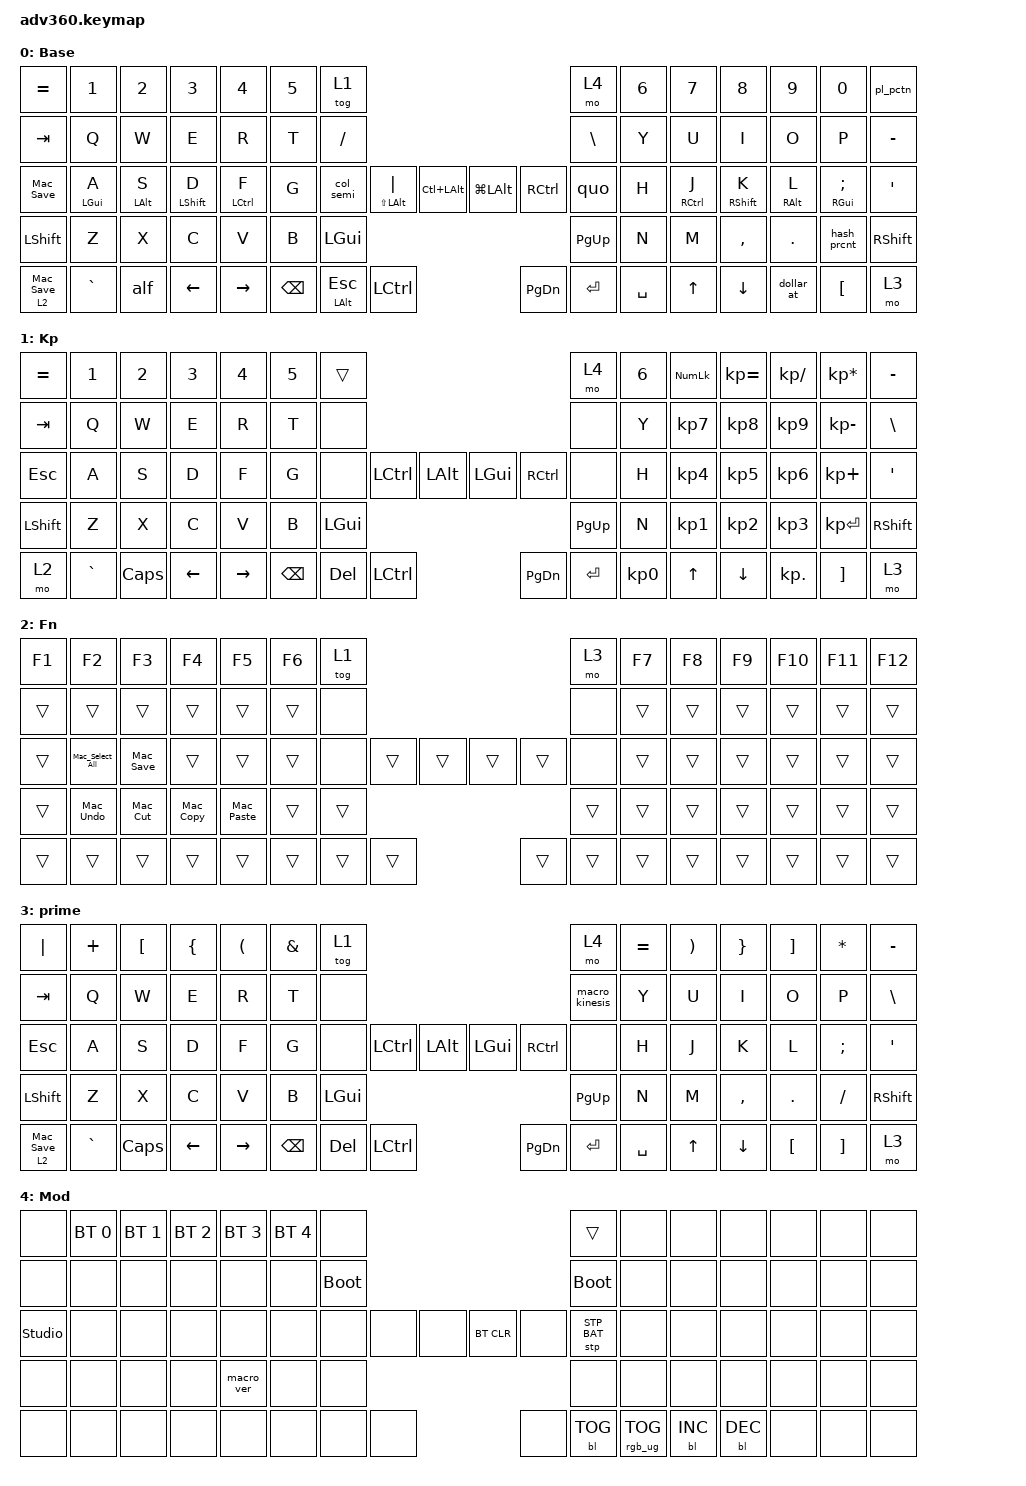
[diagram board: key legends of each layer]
#include <behaviors.dtsi>

#include <dt-bindings/zmk/keys.h>
#include <dt-bindings/zmk/bt.h>
#include <dt-bindings/zmk/rgb.h>
#include <dt-bindings/zmk/stp.h>
#include <dt-bindings/zmk/backlight.h>
#include <dt-bindings/zmk/pointing.h>

/ {
	behaviors {
		#include "macros.dtsi"
		#include "version.dtsi"
		
		// Left-hand homerow mods - "timeless" configuration
		hml: homerow_mods_left {
			compatible = "zmk,behavior-hold-tap";
			label = "HOMEROW_MODS_LEFT";
			#binding-cells = <2>;
			tapping-term-ms = <280>;// Increased for timer-less behavior
			quick-tap-ms = <175>;
			require-prior-idle-ms = <150>;// KEY FIX: Eliminates typing delay
			flavor = "balanced";// Changed from tap-preferred
			bindings = <&kp>, <&kp>;
			hold-trigger-key-positions = <// Right hand + thumbs
			7 8 9 10 11 12 13
			21 22 23 24 25 26 27
			39 40 41 42 43 44 45
			54 55 56 57 58 59
			71 72 73 74 75
			37 38 53 68 69 70
			>;
			hold-trigger-on-release;// Enable combining mods on same hand
		};
		
		// Right-hand homerow mods - "timeless" configuration
		hmr: homerow_mods_right {
			compatible = "zmk,behavior-hold-tap";
			label = "HOMEROW_MODS_RIGHT";
			#binding-cells = <2>;
			tapping-term-ms = <280>;// Increased for timer-less behavior
			quick-tap-ms = <175>;
			require-prior-idle-ms = <150>;// KEY FIX: Eliminates typing delay
			flavor = "balanced";// Changed from tap-preferred
			bindings = <&kp>, <&kp>;
			hold-trigger-key-positions = <// Left hand + thumbs
			0 1 2 3 4 5 6
			14 15 16 17 18 19 20
			28 29 30 31 32 33 34
			46 47 48 49 50 51
			60 61 62 63 64
			35 36 52 65 66 67
			>;
			hold-trigger-on-release;// Enable combining mods on same hand
		};
		
		esc_alt: esc_alt {
			compatible = "zmk,behavior-hold-tap";
			label = "ESC_ALT";
			#binding-cells = <2>;
			tapping-term-ms = <200>;
			quick_tap_ms = <175>;
			flavor = "tap-preferred";
			bindings = <&kp>, <&kp>;
		};
		
		fn_save: fn_layer_save {
			compatible = "zmk,behavior-hold-tap";
			label = "FN_SAVE";
			#binding-cells = <2>;
			tapping-term-ms = <200>;
			quick_tap_ms = <175>;
			flavor = "tap-preferred";
			bindings = <&mo>, <&Mac_Save>;
		};
		pl_pctn: pl_pctn {
			compatible = "zmk,behavior-mod-morph";
			label = "pl_pctn";
			#binding-cells = <0>;
			bindings = <&kp PLUS>, <&kp PRCNT>;
			mods = <(MOD_LGUI|MOD_LSFT|MOD_RGUI|MOD_RSFT)>;
		};
		col_semi: colon_semicolon {
			compatible = "zmk,behavior-mod-morph";
			label = "colon_semicolon";
			#binding-cells = <0>;
			bindings = <&kp COLON>, <&kp SEMICOLON>;
			mods = <(MOD_LGUI|MOD_LSFT|MOD_RGUI|MOD_RSFT)>;
		};
		
		quo: quotes_morph {
			compatible = "zmk,behavior-mod-morph";
			label = "QUOTES_MORPH";
			#binding-cells = <0>;
			bindings = <&kp SQT>, <&kp DQT>;
			mods = <(MOD_LSFT|MOD_RSFT)>;
		};
		psa: pipe_shiftalt {
			compatible = "zmk,behavior-hold-tap";
			label = "PIPE_SHIFTALT";
			#binding-cells = <2>;
			tapping-term-ms = <200>;
			quick_tap_ms = <175>;
			flavor = "tap-preferred";
			bindings = <&kp>, <&kp>;
		};
		
		hash_prcnt: hash_percent {
			compatible = "zmk,behavior-mod-morph";
			label = "HASH_PERCENT";
			#binding-cells = <0>;
			bindings = <&kp HASH>, <&kp PRCNT>;
			mods = <(MOD_LSFT|MOD_RSFT)>;
		};
		
		dollar_at: dollar_at {
			compatible = "zmk,behavior-mod-morph";
			label = "DOLLAR_AT";
			#binding-cells = <0>;
			bindings = <&kp DOLLAR>, <&kp AT>;
			mods = <(MOD_LSFT|MOD_RSFT)>;
		};
	};	keymap {
		compatible = "zmk,keymap";
		
		default_layer {
			display-name = "Base";
			bindings = <
			&kp EQUAL      &kp N1     		&kp N2    		&kp N3         &kp N4         &kp N5   &tog 1                                                                      					&mo 4       &kp N6     &kp N7         &kp N8      	&kp N9     	&kp N0     		&pl_pctn
			&kp TAB        &kp Q      		&kp W     		&kp E          &kp R          &kp T    &kp FSLH                                                                       				&kp BSLH    &kp Y      &kp U          &kp I       	&kp O      	&kp P      		&kp MINUS
			&Mac_Save      &hml LGUI A    	&hml LALT S    	&hml LSHFT D   &hml LCTRL F   &kp G    &col_semi          		&psa LS(LALT) PIPE   &kp LC(LALT) &kp LG(LALT) &kp RCTRL           	&quo       	&kp H      &hmr RCTRL J   &hmr RSHFT K  &hmr RALT L &hmr RGUI SEMI  &kp SQT
			&kp LSHFT      &kp Z      		&kp X     		&kp C          &kp V          &kp B                                 				 &kp LGUI    &kp PG_UP                                   	&kp N      &kp M          &kp COMMA   	&kp DOT    	&hash_prcnt   	&kp RSHFT
			&fn_save 2 0   &kp GRAVE  		&alf 	  		&kp LEFT       &kp RIGHT                			&kp BSPC    &esc_alt LALT ESC    &kp LCTRL   &kp PG_DN   &kp ENTER   &kp SPACE              &kp UP     &kp DOWN       &dollar_at    &kp LBKT   	&mo 3
			>;
		};
		keypad {
			display-name = "Kp";
			bindings = <
			&kp EQUAL  &kp N1     &kp N2    &kp N3    &kp N4     &kp N5  &trans                                                       &mo 4      &kp N6  &kp KP_NUM    &kp KP_EQUAL  &kp KP_DIVIDE  &kp KP_MULTIPLY  &kp MINUS
			&kp TAB    &kp Q      &kp W     &kp E     &kp R      &kp T   &none                                                        &none      &kp Y   &kp KP_N7     &kp KP_N8     &kp KP_N9      &kp KP_MINUS     &kp BSLH
			&kp ESC    &kp A      &kp S     &kp D     &kp F      &kp G   &none      &kp LCTRL   &kp LALT   &kp LGUI    &kp RCTRL         &none      &kp H   &kp KP_N4     &kp KP_N5     &kp KP_N6      &kp KP_PLUS      &kp SQT
			&kp LSHFT  &kp Z      &kp X     &kp C     &kp V      &kp B                          &kp LGUI   &kp PG_UP                            &kp N   &kp KP_N1     &kp KP_N2     &kp KP_N3      &kp KP_ENTER     &kp RSHFT
			&mo 2      &kp GRAVE  &kp CAPS  &kp LEFT  &kp RIGHT          &kp BSPC   &kp DEL     &kp LCTRL  &kp PG_DN   &kp ENTER   &kp KP_N0              &kp UP  &kp DOWN      &kp KP_DOT     &kp RBKT         &mo 3
			>;
		};
		fn {
			display-name = "Fn";
			bindings = <
			&kp F1   &kp F2             &kp F3        &kp F4        &kp F5          &kp F6   &tog 1                                            &mo 3   &kp F7   &kp F8   &kp F9   &kp F10   &kp F11   &kp F12
			&trans   &trans             &trans        &trans        &trans          &trans   &none                                             &none   &trans   &trans   &trans   &trans    &trans    &trans
			&trans   &Mac_Select_All    &Mac_Save     &trans        &trans          &trans   &none   &trans  &trans  &trans  &trans            &none   &trans   &trans   &trans   &trans    &trans    &trans
			&trans   &Mac_Undo          &Mac_Cut      &Mac_Copy     &Mac_Paste      &trans                   &trans  &trans                            &trans   &trans   &trans   &trans    &trans    &trans
			&trans   &trans             &trans        &trans        &trans                   &trans  &trans  &trans  &trans  &trans  &trans            &trans   &trans   &trans   &trans    &trans
			>;
		};
		prime {
			bindings = <
			&kp PIPE       &kp PLUS   &kp LEFT_BRACKET  &kp LEFT_BRACE  &kp LEFT_PARENTHESIS  &kp AMPERSAND  &tog 1                                                    &mo 4           &kp EQUAL  &kp RIGHT_PARENTHESIS  &kp RIGHT_BRACE  &kp RIGHT_BRACKET  &kp STAR   &kp MINUS
			&kp TAB        &kp Q      &kp W             &kp E           &kp R                 &kp T          &none                                                     &macro_kinesis  &kp Y      &kp U                 &kp I           &kp O             &kp P      &kp BSLH
			&kp ESC        &kp A      &kp S             &kp D           &kp F                 &kp G          &none      &kp LCTRL  &kp LALT  &kp LGUI  &kp RCTRL       &none           &kp H      &kp J                 &kp K           &kp L             &kp SEMI   &kp SQT
			&kp LSHFT      &kp Z      &kp X             &kp C           &kp V                 &kp B                                &kp LGUI  &kp PG_UP                                 &kp N      &kp M                 &kp COMMA       &kp DOT           &kp FSLH   &kp RSHFT
			&fn_save 2 0   &kp GRAVE  &kp CAPS          &kp LEFT        &kp RIGHT                            &kp BKSP   &kp DEL   &kp LCTRL   &kp PG_DN  &kp ENTER  &kp SPACE                  &kp UP     &kp DOWN              &kp LBKT        &kp RBKT          &mo 3
			>;
		};
		mod {
			display-name = "Mod";
			bindings = <
			&none           &bt BT_SEL 0  &bt BT_SEL 1  &bt BT_SEL 2  &bt BT_SEL 3  &bt BT_SEL 4  &none                                                        &trans              &none         &none         &none         &none         &none         &none
			&none           &none         &none         &none         &none         &none         &bootloader                                                  &bootloader         &none         &none         &none         &none         &none         &none
			&studio_unlock  &none         &none         &none         &none         &none         &none        &none  &none  &bt BT_CLR  &none                 &stp STP_BAT        &none         &none         &none         &none         &none         &none
			&none           &none         &none         &none         &macro_ver    &none                               &none  &none                                                 &none         &none         &none         &none         &none         &none
			&none           &none         &none         &none         &none                       &none        &none  &none  &none       &bl BL_TOG  &rgb_ug RGB_TOG                     &bl BL_INC    &bl BL_DEC    &none         &none         &none
			>;
		};
		extra1 {
			display-name = "Red";
			status = "reserved";
		};
		
		extra2 {
			display-name = "Purple";
			status = "reserved";
		};
		
		
		extra3 {
			display-name = "Cyan";
			status = "reserved";
		};
		
		extra4 {
			display-name = "Yellow";
			status = "reserved";
		};
	};
};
